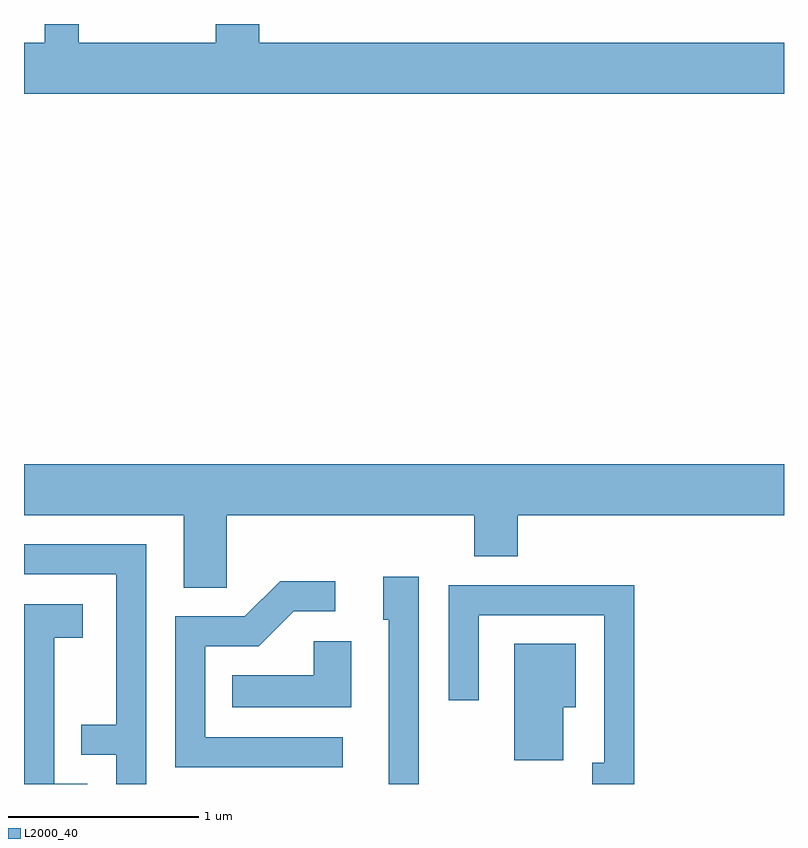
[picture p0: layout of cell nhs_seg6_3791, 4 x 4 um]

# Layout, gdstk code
import gdstk
lib = gdstk.Library(unit=1e-6, precision=1e-09)
def P(c, l, *ps):  # polygons
    for p in ps: c.add(gdstk.Polygon(p, *l))
L2000_40 = (2000, 40)

nhs_seg6_3791 = lib.new_cell('nhs_seg6_3791')
P(nhs_seg6_3791, L2000_40, [(303.611,1568.064),(300.849,1568.064),(300.849,1568.162),(300.621,1568.162),(300.621,1568.064),(299.899,1568.064),(299.899,1568.162),(299.721,1568.162),(299.721,1568.064),(299.611,1568.064),(299.611,1567.796),(303.611,1567.796)],
  [(300.679,1565.576),(301.981,1565.576),(301.981,1565.361),(302.209,1565.361),(302.209,1565.576),(303.611,1565.576),(303.611,1565.844),(299.611,1565.844),(299.611,1565.576),(300.451,1565.576),(300.451,1565.196),(300.679,1565.196)],
  [(300.254,1565.424),(299.611,1565.424),(299.611,1565.266),(300.096,1565.266),(300.096,1564.474),(299.913,1564.474),(299.913,1564.316),(300.096,1564.316),(300.096,1564.162),(300.254,1564.162)],
  [(301.689,1565.254),(301.501,1565.254),(301.501,1565.026),(301.531,1565.026),(301.531,1564.162),(301.689,1564.162)],
  [(301.288,1564.409),(300.564,1564.409),(300.564,1564.886),(300.847,1564.886),(301.032,1565.071),(301.248,1565.071),(301.248,1565.229),(300.959,1565.229),(300.774,1565.044),(300.406,1565.044),(300.406,1564.251),(301.288,1564.251)],
  [(302.824,1565.209),(301.846,1565.209),(301.846,1564.603),(302.004,1564.603),(302.004,1565.051),(302.666,1565.051),(302.666,1564.274),(302.601,1564.274),(302.601,1564.162),(302.824,1564.162)],
  [(299.944,1564.164),(299.769,1564.164),(299.769,1564.931),(299.919,1564.931),(299.919,1565.109),(299.611,1565.109),(299.611,1564.162),(299.944,1564.162)],
  [(301.334,1564.914),(301.136,1564.914),(301.136,1564.734),(300.708,1564.734),(300.708,1564.566),(301.334,1564.566)],
  [(302.449,1564.566),(302.514,1564.566),(302.514,1564.899),(302.191,1564.899),(302.191,1564.286),(302.449,1564.286)])

lib.write_gds('nhs_seg6_3791.gds')
